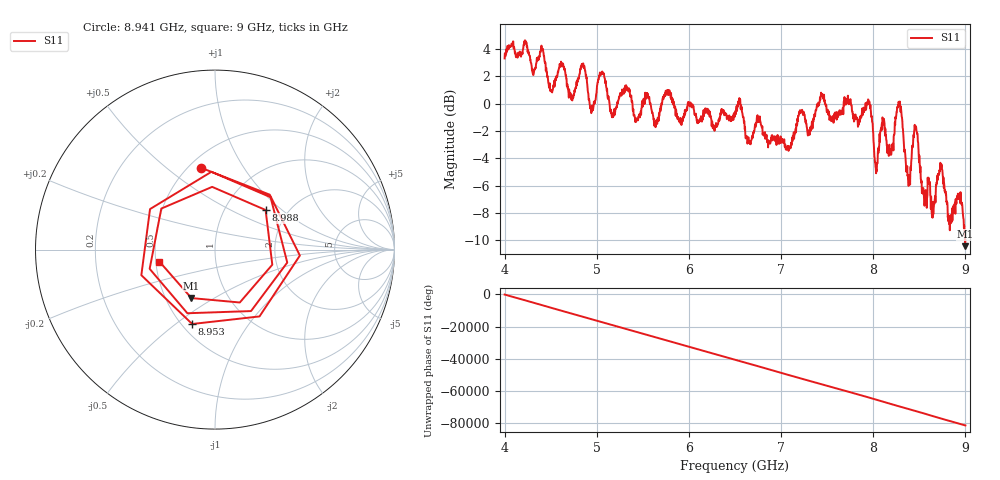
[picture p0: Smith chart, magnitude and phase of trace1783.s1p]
! Created with skrf 1.8.0 (http://scikit-rf.org).
# Hz S RI R 50.0
!freq ReS11 ImS11
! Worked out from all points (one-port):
!   1601 points, 4 GHz to 9 GHz, reference 50 ohm
!   lowest |S11| = -10.4 dB at 8.997 GHz (marker M1), VSWR 1.86, Z = 33.6 - j20 ohm
!   |S11| at or under -10 dB: 8.995081 GHz to 8.999916 GHz (4.835 MHz wide, 0.0537 % of centre)
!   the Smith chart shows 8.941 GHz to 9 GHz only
!   S11 on the Smith chart (normalised r, x): 8.941 GHz: 0.58, +0.67; 8.953 GHz: 0.56, -0.57; 8.988 GHz: 1.54, +0.78; 9 GHz: 0.52, -0.08
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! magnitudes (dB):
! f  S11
! 4 GHz  3.3
! 4.406 GHz  4.0
! 4.506 GHz  1.0
! 4.625 GHz  2.9
! 4.728 GHz  0.5
! 4.853 GHz  3.0
! 4.947 GHz  -0.5
! 5.053 GHz  2.2
! 5.169 GHz  -0.9
! 5.25 GHz  0.6
! 5.875 GHz  -1.1
! 6.5 GHz  -0.7
! 7.125 GHz  -2.7
! 7.75 GHz  0.3
! 7.953 GHz  0.0
! 8.034 GHz  -4.8
! 8.284 GHz  -0.2
! 8.375 GHz  -5.2
! 8.459 GHz  -1.8
! 8.556 GHz  -7.5
! 8.65 GHz  -8.0
! 8.728 GHz  -4.3
! 8.834 GHz  -8.7
! 8.941 GHz  -6.7
! 8.953 GHz  -7.3
! 8.988 GHz  -8.9
! 8.997 GHz  -10.4
! 9 GHz  -10.0
